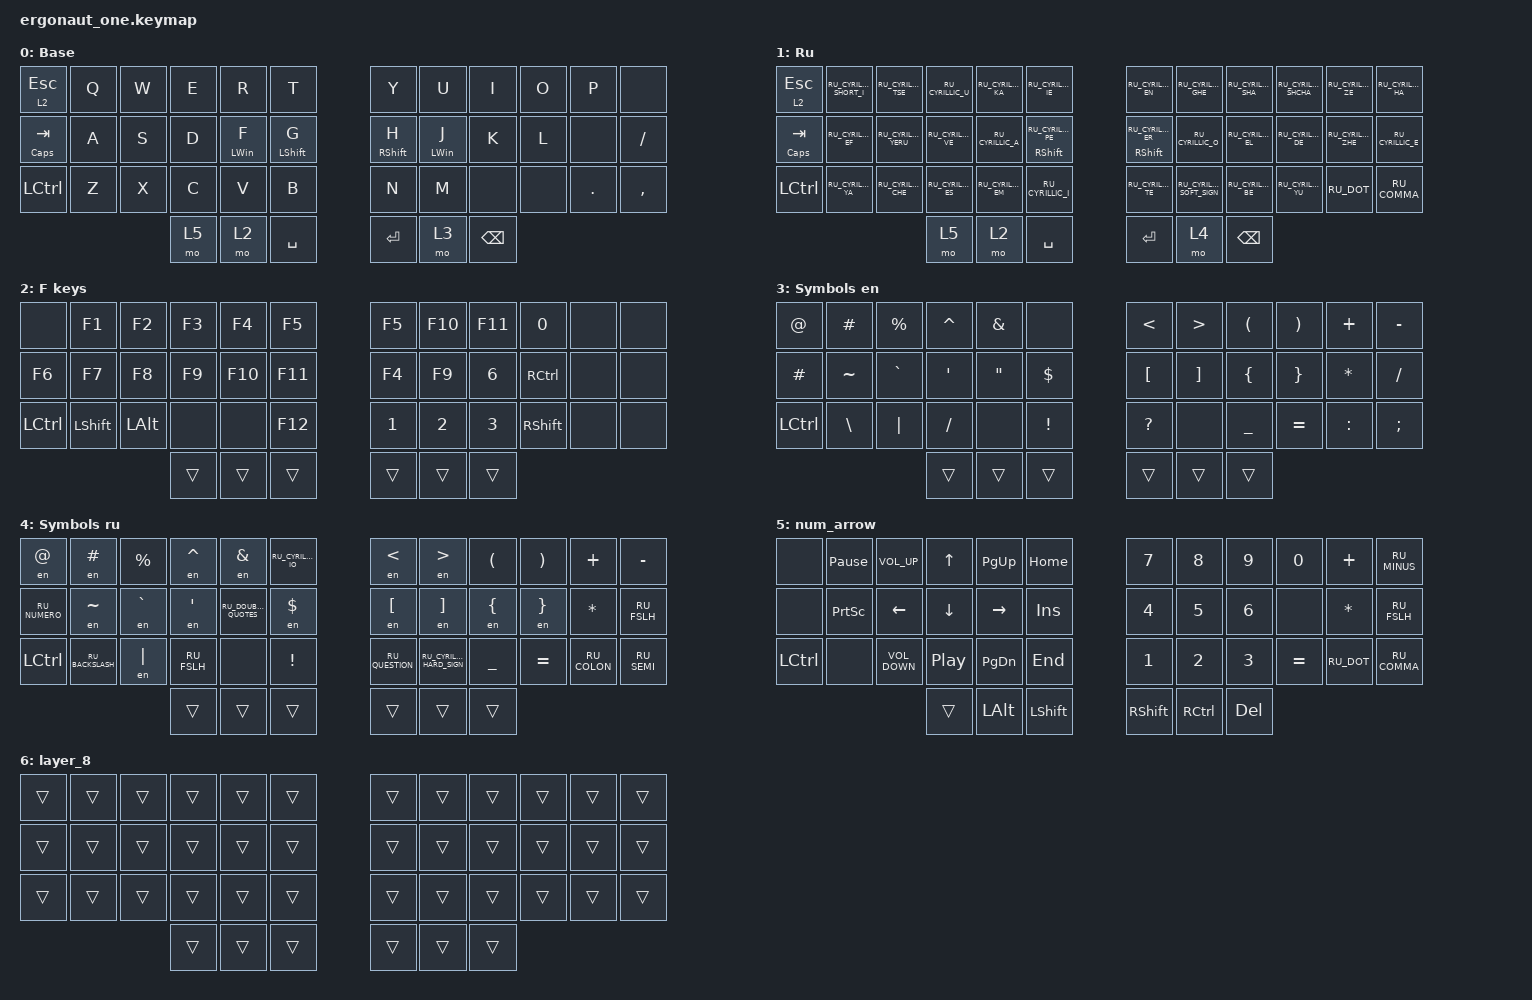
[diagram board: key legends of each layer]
#include "keys_ru.h"
#include <dt-bindings/zmk/input_transform.h>
#include <input/processors.dtsi>
#include <zephyr/dt-bindings/input/input-event-codes.h>
#include <behaviors.dtsi>
#include <dt-bindings/zmk/keys.h>
#include <dt-bindings/zmk/pointing.h>

/ {
    behaviors {
        cap_sen: cap_sen {
            compatible = "zmk,behavior-hold-tap";
            label = "CAP_SEN";
            bindings = <&mo>, <&mkp>;

            #binding-cells = <2>;
            tapping-term-ms = <150>;
            hold-while-undecided;
        };

        hml: hml {
            compatible = "zmk,behavior-hold-tap";
            #binding-cells = <2>;
            flavor = "balanced";
            tapping-term-ms = <2000>;
            quick-tap-ms = <175>;
            require-prior-idle-ms = <250>;
            hold-trigger-key-positions = <6 7 8 9 10 11 23 22 21 20 19 18 30 31 32 33 34 35 39 40 41>;
            hold-trigger-on-release;
            bindings = <&kp>, <&kp>;
        };

        hmr: hmr {
            compatible = "zmk,behavior-hold-tap";
            #binding-cells = <2>;
            flavor = "balanced";
            tapping-term-ms = <2000>;
            quick-tap-ms = <175>;
            require-prior-idle-ms = <250>;
            hold-trigger-key-positions = <0 1 2 3 4 5 17 12 13 14 15 16 24 25 26 27 28 29 36 37 38>;
            hold-trigger-on-release;
            bindings = <&kp>, <&kp>;
        };
    };

    combos {
        compatible = "zmk,combos";

        cmben {
            bindings = <&layer_en>;
            key-positions = <5 4>;
            layers = <1>;
        };

        cmbru {
            bindings = <&layer_ru>;
            key-positions = <5 4>;
            layers = <0>;
        };

        LRPar {
            bindings = <&LR_Par>;
            key-positions = <7 8>;
            layers = <3 4 1 0>;
            slow-release;
        };

        lr_brc {
            bindings = <&LR_brc>;
            key-positions = <19 20>;
            layers = <3 0>;
            slow-release;
        };

        en_Lr_Brc {
            bindings = <&enBrct>;
            key-positions = <19 20>;
            layers = <1 4>;
            slow-release;
        };

        lr_brs {
            bindings = <&LR_brs>;
            key-positions = <31 32>;
            layers = <0 3>;
            slow-release;
        };

        en_lr_Brs {
            bindings = <&en_LR_brs>;
            key-positions = <31 32>;
            layers = <1 4>;
            slow-release;
        };

        lr_DQT {
            bindings = <&LR_DKT>;
            key-positions = <6 7>;
            layers = <0 3>;
            slow-release;
        };

        lr_enDQT {
            bindings = <&LR_enDKT>;
            key-positions = <6 7>;
            layers = <1 3>;
            slow-release;
        };

        boot_l {
            bindings = <&boot_lo>;
            key-positions = <11 0>;
            layers = <5>;
        };

        R_sh {
            bindings = <&kp RSHIFT>;
            key-positions = <18 19>;
            layers = <0 1>;
        };

        L_sh {
            bindings = <&kp LSHFT>;
            key-positions = <16 17>;
        };

        pss {
            bindings = <&pss>;
            key-positions = <41 35>;
            layers = <0>;
        };

        Alt_Del {
            bindings = <&kp LA(DEL)>;
            key-positions = <34 35>;
        };
    };

    macros {
        to_ru: to_ru {
            compatible = "zmk,behavior-macro";
            #binding-cells = <0>;
            bindings = <&sk LS(LEFT_CONTROL)>, <&macro_wait_time 300>, <&kp N2>;

            label = "TO_RU";
            wait-ms = <20>;
            tap-ms = <60>;
        };

        to_en: to_en {
            compatible = "zmk,behavior-macro";
            #binding-cells = <0>;
            bindings = <&sk LS(LCTRL)>, <&macro_wait_time 300>, <&kp N1>;

            label = "TO_EN";
            wait-ms = <20>;
            tap-ms = <60>;
        };

        to_ru_fast: to_ru_fast {
            compatible = "zmk,behavior-macro";
            #binding-cells = <0>;
            bindings = <&sk LS(LC(N2))>;
            label = "TO_RU_FAST";
            wait-ms = <20>;
            tap-ms = <60>;
        };

        to_en_fast: to_en_fast {
            compatible = "zmk,behavior-macro";
            #binding-cells = <0>;
            bindings = <&sk LS(RC(N1))>;
            label = "TO_EN_FAST";
            wait-ms = <20>;
            tap-ms = <60>;
        };

        layer_en: layer_en {
            compatible = "zmk,behavior-macro";
            #binding-cells = <0>;
            bindings = <&to_en &to 0>;
            label = "LAYER_EN";
            wait-ms = <0>;
            tap-ms = <60>;
        };

        layer_ru: layer_ru {
            compatible = "zmk,behavior-macro";
            #binding-cells = <0>;
            bindings = <&to_ru &to 1>;
            label = "LAYER_RU";
            tap-ms = <60>;
            wait-ms = <0>;
        };

        en: en {
            compatible = "zmk,behavior-macro-one-param";
            #binding-cells = <1>;
            bindings =
                <&to_en_fast>,
                <&macro_wait_time 5>,
                <&macro_press>,
                <&macro_param_1to1 &kp MACRO_PLACEHOLDER>,
                <&macro_pause_for_release>,
                <&macro_release>,
                <&macro_param_1to1 &kp MACRO_PLACEHOLDER>,
                <&macro_tap>,
                <&to_ru_fast>;

            label = "EN";
            wait-ms = <0>;
            tap-ms = <30>;
        };

        LR_Par: LR_Par {
            compatible = "zmk,behavior-macro";
            #binding-cells = <0>;
            bindings = <&kp LPAR &kp RPAR &kp LEFT_ARROW>;
            label = "LR_PAR";
            wait-ms = <100>;
        };

        LR_brc: LR_brc {
            compatible = "zmk,behavior-macro";
            #binding-cells = <0>;
            bindings = <&kp LEFT_BRACKET &kp RBKT &kp LEFT_ARROW>;
            label = "LR_BRC";
        };

        enBrct: enBrct {
            compatible = "zmk,behavior-macro";
            #binding-cells = <0>;
            bindings = <&to_en &kp LEFT_BRACKET &kp RIGHT_BRACKET &kp LEFT_ARROW &to_ru>;
            label = "ENBRCT";
        };

        LR_brs: LR_brs {
            compatible = "zmk,behavior-macro";
            #binding-cells = <0>;
            bindings = <&kp LEFT_BRACE &kp RIGHT_BRACE &kp LEFT_ARROW>;
            label = "LR_BRS";
        };

        en_LR_brs: en_LR_brs {
            compatible = "zmk,behavior-macro";
            #binding-cells = <0>;
            bindings = <&to_en &kp LEFT_BRACE &kp RIGHT_BRACE &kp LEFT_ARROW &to_ru>;
            label = "EN_LR_BRS";
        };

        LR_DKT: LR_ruDKT {
            compatible = "zmk,behavior-macro";
            #binding-cells = <0>;
            bindings = <&kp RU_DOUBLE_QUOTES &kp RU_DOUBLE_QUOTES &kp LEFT_ARROW>;
            label = "LR_RUDKT";
        };

        LR_enDKT: LR_enDKT {
            compatible = "zmk,behavior-macro";
            #binding-cells = <0>;
            bindings = <&to_en &kp DQT &kp DQT &kp LEFT_ARROW &to_ru>;
            label = "LR_ENDKT";
        };

        boot_lo: bootl {
            compatible = "zmk,behavior-macro";
            #binding-cells = <0>;
            bindings = <&bootloader>;
            label = "BOOTL";
        };

        to_Fkeys: to_Fkeys {
            compatible = "zmk,behavior-macro";
            #binding-cells = <0>;
            bindings = <&tog 2>;
            label = "TO_FKEYS";
        };

        pss: pss {
            compatible = "zmk,behavior-macro";
            #binding-cells = <0>;
            bindings = <&kp LS(R) &kp I &kp Y &kp N2 &kp N1 &kp N4 &kp LS(B) &kp L &kp A &kp U &kp N6 &kp N2 &kp LS(V) &kp V>;
            label = "PSS";
        };

        Brace: Brace {
            compatible = "zmk,behavior-macro";
            #binding-cells = <0>;
            bindings =
                <&macro_press>,
                <&kp LSHFT>,
                <&macro_tap>,
                <&kp N9>,
                <&macro_release>,
                <&kp LSHFT>;
        };
    };

    keymap {
        compatible = "zmk,keymap";

        en {
            display-name = "Base";
            bindings = <
&lt 2 ESC         &kp Q  &kp W  &kp E  &kp R        &kp T         &kp Y         &kp U        &kp I          &kp O  &kp P    &none
&mt CAPSLOCK TAB  &kp A  &kp S  &kp D  &hml LWIN F  &hml LSHFT G  &hmr RSHFT H  &hmr LWIN J  &kp K          &kp L  &none    &kp SLASH
&kp LCTRL         &kp Z  &kp X  &kp C  &kp V        &kp B         &kp N         &kp M        &none          &none  &kp DOT  &kp COMMA
                                &mo 5  &mo 2        &kp SPACE     &kp ENTER     &mo 3        &kp BACKSPACE
            >;
        };

        ru {
            display-name = "Ru";
            bindings = <
&lt 2 ESC         &kp RU_CYRILLIC_SHORT_I  &kp RU_CYRILLIC_TSE   &kp RU_CYRILLIC_U   &kp RU_CYRILLIC_KA  &kp RU_CYRILLIC_IE          &kp RU_CYRILLIC_EN          &kp RU_CYRILLIC_GHE        &kp RU_CYRILLIC_SHA  &kp RU_CYRILLIC_SHCHA  &kp RU_CYRILLIC_ZE   &kp RU_CYRILLIC_HA
&mt CAPSLOCK TAB  &kp RU_CYRILLIC_EF       &kp RU_CYRILLIC_YERU  &kp RU_CYRILLIC_VE  &kp RU_CYRILLIC_A   &hml RSHIFT RU_CYRILLIC_PE  &hmr RSHIFT RU_CYRILLIC_ER  &kp RU_CYRILLIC_O          &kp RU_CYRILLIC_EL   &kp RU_CYRILLIC_DE     &kp RU_CYRILLIC_ZHE  &kp RU_CYRILLIC_E
&kp LCTRL         &kp RU_CYRILLIC_YA       &kp RU_CYRILLIC_CHE   &kp RU_CYRILLIC_ES  &kp RU_CYRILLIC_EM  &kp RU_CYRILLIC_I           &kp RU_CYRILLIC_TE          &kp RU_CYRILLIC_SOFT_SIGN  &kp RU_CYRILLIC_BE   &kp RU_CYRILLIC_YU     &kp RU_DOT           &kp RU_COMMA
                                                                 &mo 5               &mo 2               &kp SPACE                   &kp ENTER                   &mo 4                      &kp BACKSPACE
            >;
        };

        F_key {
            display-name = "F keys";
            bindings = <
&none      &kp F1      &kp F2    &kp F3  &kp F4   &kp F5   &kp F5        &kp F10  &kp F11       &kp NUMBER_0       &none  &none
&kp F6     &kp F7      &kp F8    &kp F9  &kp F10  &kp F11  &kp F4        &kp F9   &kp N6        &kp RIGHT_CONTROL  &none  &none
&kp LCTRL  &kp LSHIFT  &kp LALT  &none   &none    &kp F12  &kp NUMBER_1  &kp N2   &kp NUMBER_3  &kp RSHIFT         &none  &none
                                 &trans  &trans   &trans   &trans        &trans   &trans
            >;
        };

        sym_en {
            display-name = "Symbols en";
            bindings = <
&kp AT     &kp HASH   &kp PRCNT  &kp CARET  &kp AMPS  &none     &kp LT            &kp GT             &kp LPAR   &kp RPAR   &kp PLUS   &kp MINUS
&kp HASH   &kp TILDE  &kp GRAVE  &kp SQT    &kp DQT   &kp DLLR  &kp LEFT_BRACKET  &kp RIGHT_BRACKET  &kp LBRC   &kp RBRC   &kp ASTRK  &kp FSLH
&kp LCTRL  &kp BSLH   &kp PIPE   &kp FSLH   &none     &kp EXCL  &kp QUESTION      &none              &kp UNDER  &kp EQUAL  &kp COLON  &kp SEMICOLON
                                 &trans     &trans    &trans    &trans            &trans             &trans
            >;
        };

        sym_ru {
            display-name = "Symbols ru";
            bindings = <
&en AT         &en HASH          &kp PRCNT  &en CARET    &en AMPS              &kp RU_CYRILLIC_IO  &en LT            &en GT                     &kp LPAR   &kp RPAR   &kp PLUS      &kp MINUS
&kp RU_NUMERO  &en TILDE         &en GRAVE  &en SQT      &kp RU_DOUBLE_QUOTES  &en DLLR            &en LEFT_BRACKET  &en RIGHT_BRACKET          &en LBRC   &en RBRC   &kp STAR      &kp RU_FSLH
&kp LCTRL      &kp RU_BACKSLASH  &en PIPE   &kp RU_FSLH  &none                 &kp EXCL            &kp RU_QUESTION   &kp RU_CYRILLIC_HARD_SIGN  &kp UNDER  &kp EQUAL  &kp RU_COLON  &kp RU_SEMI
                                            &trans       &trans                &trans              &trans            &trans                     &trans
            >;
        };

        num_arrow {
            display-name = "num_arrow";
            bindings = <
&none      &kp PAUSE_BREAK  &kp C_VOLUME_UP    &kp UP    &kp PG_UP  &kp HOME    &kp N7        &kp NUMBER_8  &kp N9        &kp N0     &kp PLUS    &kp RU_MINUS
&none      &kp PRINTSCREEN  &kp LEFT           &kp DOWN  &kp RIGHT  &kp INS     &kp NUMBER_4  &kp N5        &kp NUMBER_6  &none      &kp STAR    &kp RU_FSLH
&kp LCTRL  &none            &kp C_VOLUME_DOWN  &kp C_PP  &kp PG_DN  &kp END     &kp N1        &kp N2        &kp N3        &kp EQUAL  &kp RU_DOT  &kp RU_COMMA
                                               &trans    &kp LALT   &kp LSHIFT  &kp RSHIFT    &kp RCTRL     &kp DEL
            >;
        };

        layer_8 {
            bindings = <
&trans  &trans  &trans  &trans  &trans  &trans  &trans  &trans  &trans  &trans  &trans  &trans
&trans  &trans  &trans  &trans  &trans  &trans  &trans  &trans  &trans  &trans  &trans  &trans
&trans  &trans  &trans  &trans  &trans  &trans  &trans  &trans  &trans  &trans  &trans  &trans
                        &trans  &trans  &trans  &trans  &trans  &trans
            >;
        };
    };
};
